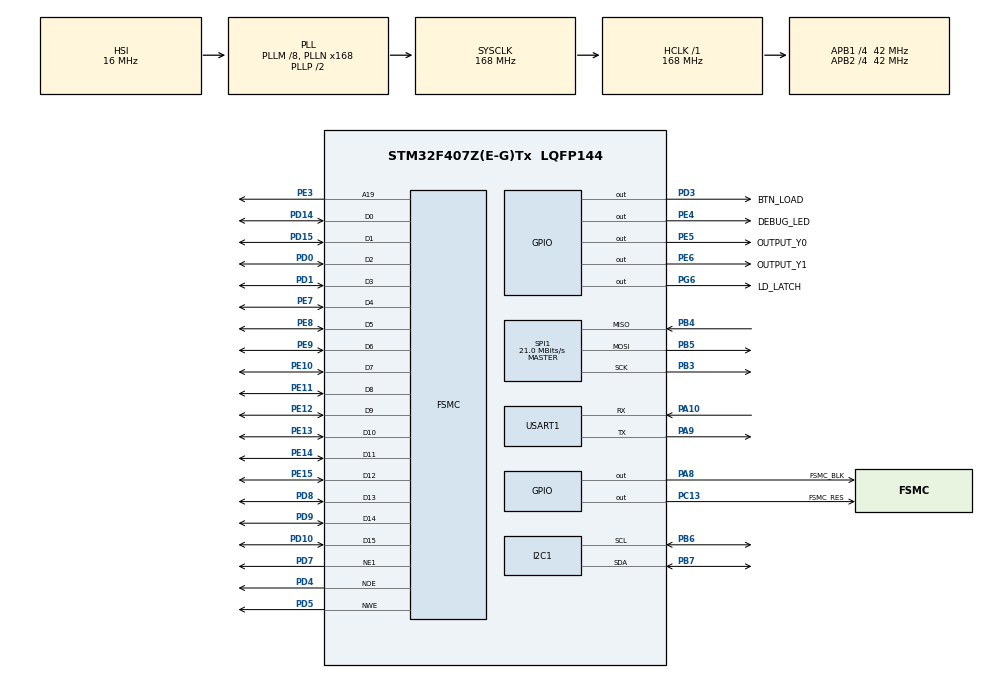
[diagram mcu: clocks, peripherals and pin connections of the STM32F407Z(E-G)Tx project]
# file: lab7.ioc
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FSMC.AddressSetupTime1=0xf
FSMC.BusTurnAroundDuration1=0
FSMC.DataSetupTime1=60
FSMC.ExtendedAddressSetupTime1=8
FSMC.ExtendedBusTurnAroundDuration1=0
FSMC.ExtendedDataSetupTime1=9
FSMC.ExtendedMode1=FSMC_EXTENDED_MODE_ENABLE
Mcu.Family=STM32F4
Mcu.Name=STM32F407Z(E-G)Tx
Mcu.Package=LQFP144
NVIC.PriorityGroup=NVIC_PRIORITYGROUP_4
NVIC.TIM2_IRQn=true\:0\:0\:false\:false\:true\:true\:true\:true
NVIC.TIM4_IRQn=true\:0\:0\:false\:false\:true\:true\:true\:true
NVIC.USART1_IRQn=true\:0\:0\:false\:false\:true\:true\:true\:true
PA10.Mode=Asynchronous
PA10.Signal=USART1_RX
PA13.Mode=Serial_Wire
PA13.Signal=SYS_JTMS-SWDIO
PA14.Mode=Serial_Wire
PA14.Signal=SYS_JTCK-SWCLK
PA8.GPIO_Label=FSMC_BLK
PA8.Signal=GPIO_Output
PA9.Mode=Asynchronous
PA9.Signal=USART1_TX
PB3.Mode=Full_Duplex_Master
PB3.Signal=SPI1_SCK
PB4.Mode=Full_Duplex_Master
PB4.Signal=SPI1_MISO
PB5.Mode=Full_Duplex_Master
PB5.Signal=SPI1_MOSI
PB6.Mode=I2C
PB6.Signal=I2C1_SCL
PB7.Mode=I2C
PB7.Signal=I2C1_SDA
PC13-ANTI_TAMP.GPIO_Label=FSMC_RES
PC13-ANTI_TAMP.Signal=GPIO_Output
PD0.Signal=FSMC_D2_DA2
PD1.Signal=FSMC_D3_DA3
PD10.Signal=FSMC_D15_DA15
PD14.Signal=FSMC_D0_DA0
PD15.Signal=FSMC_D1_DA1
PD3.GPIO_Label=BTN_LOAD
PD3.Signal=GPIO_Output
PD4.Signal=FSMC_NOE
PD5.Signal=FSMC_NWE
PD7.Mode=NorPsramChipSelect1_1
PD7.Signal=FSMC_NE1
PD8.Signal=FSMC_D13_DA13
PD9.Signal=FSMC_D14_DA14
PE10.Signal=FSMC_D7_DA7
PE11.Signal=FSMC_D8_DA8
PE12.Signal=FSMC_D9_DA9
PE13.Signal=FSMC_D10_DA10
PE14.Signal=FSMC_D11_DA11
PE15.Signal=FSMC_D12_DA12
PE3.Signal=FSMC_A19
PE4.GPIO_Label=DEBUG_LED
PE4.Signal=GPIO_Output
PE5.GPIO_Label=OUTPUT_Y0
PE5.Signal=GPIO_Output
PE6.GPIO_Label=OUTPUT_Y1
PE6.Signal=GPIO_Output
PE7.Signal=FSMC_D4_DA4
PE8.Signal=FSMC_D5_DA5
PE9.Signal=FSMC_D6_DA6
PG6.GPIO_Label=LD_LATCH
PG6.Signal=GPIO_Output
PH0-OSC_IN.Mode=HSE-External-Oscillator
PH0-OSC_IN.Signal=RCC_OSC_IN
PH1-OSC_OUT.Mode=HSE-External-Oscillator
PH1-OSC_OUT.Signal=RCC_OSC_OUT
ProjectManager.HeapSize=0x200
ProjectManager.StackSize=0x400
ProjectManager.TargetToolchain=STM32CubeIDE
RCC.48MHZClocksFreq_Value=84000000
RCC.AHBFreq_Value=168000000
RCC.APB1CLKDivider=RCC_HCLK_DIV4
RCC.APB1Freq_Value=42000000
RCC.APB1TimFreq_Value=84000000
RCC.APB2CLKDivider=RCC_HCLK_DIV4
RCC.APB2Freq_Value=42000000
RCC.APB2TimFreq_Value=84000000
RCC.CortexFreq_Value=168000000
RCC.HCLKFreq_Value=168000000
RCC.HSE_VALUE=25000000
RCC.HSI_VALUE=16000000
RCC.LSE_VALUE=32768
RCC.PLLM=8
RCC.PLLN=168
RCC.SYSCLKFreq_VALUE=168000000
RCC.SYSCLKSource=RCC_SYSCLKSOURCE_PLLCLK
RCC.VCOOutputFreq_Value=336000000
SH.FSMC_A19.0=FSMC_A19,A19_1
SH.FSMC_D0_DA0.0=FSMC_D0,16b-d1
SH.FSMC_D10_DA10.0=FSMC_D10,16b-d1
SH.FSMC_D11_DA11.0=FSMC_D11,16b-d1
SH.FSMC_D12_DA12.0=FSMC_D12,16b-d1
SH.FSMC_D13_DA13.0=FSMC_D13,16b-d1
SH.FSMC_D14_DA14.0=FSMC_D14,16b-d1
SH.FSMC_D15_DA15.0=FSMC_D15,16b-d1
SH.FSMC_D1_DA1.0=FSMC_D1,16b-d1
SH.FSMC_D2_DA2.0=FSMC_D2,16b-d1
SH.FSMC_D3_DA3.0=FSMC_D3,16b-d1
SH.FSMC_D4_DA4.0=FSMC_D4,16b-d1
SH.FSMC_D5_DA5.0=FSMC_D5,16b-d1
SH.FSMC_D6_DA6.0=FSMC_D6,16b-d1
SH.FSMC_D7_DA7.0=FSMC_D7,16b-d1
SH.FSMC_D8_DA8.0=FSMC_D8,16b-d1
SH.FSMC_D9_DA9.0=FSMC_D9,16b-d1
SH.FSMC_NOE.0=FSMC_NOE,Lcd1
SH.FSMC_NWE.0=FSMC_NWE,Lcd1
SPI1.CalculateBaudRate=21.0 MBits/s
SPI1.Direction=SPI_DIRECTION_2LINES
SPI1.Mode=SPI_MODE_MASTER
SPI1.VirtualType=VM_MASTER
TIM2.Period=10-1
TIM2.Prescaler=8400-1
TIM4.Period=10-1
TIM4.Prescaler=8400-1
USART1.VirtualMode=VM_ASYNC
VP_TIM2_VS_ClockSourceINT.Mode=Internal
VP_TIM4_VS_ClockSourceINT.Mode=Internal
board=custom

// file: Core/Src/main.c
/* USER CODE BEGIN Header */
/**
  ******************************************************************************
  * @file           : main.c
  * @brief          : Main program body
  ******************************************************************************
  * @attention
  *
  * Copyright (c) 2024 STMicroelectronics.
  * All rights reserved.
  *
  * This software is licensed under terms that can be found in the LICENSE file
  * in the root directory of this software component.
  * If no LICENSE file comes with this software, it is provided AS-IS.
  *
  ******************************************************************************
  */
/* USER CODE END Header */
#include "main.h"
#include "i2c.h"
#include "spi.h"
#include "tim.h"
#include "usart.h"
#include "gpio.h"
#include "fsmc.h"

/* USER CODE BEGIN Includes */
#include <math.h>
#include <string.h>
#include <stdint.h>

#include "sTimer.h"
#include "led7Seg.h"
#include "button.h"
#include "lcd.h"

/* USER CODE END Includes */

void SystemClock_Config(void);
/* USER CODE BEGIN PFP */
uint8_t debugSystem(void);
void initSystem(void);

/* USER CODE END PFP */

int main(void)
{

  /* MCU Configuration--------------------------------------------------------*/

  /* Reset of all peripherals, Initializes the Flash interface and the Systick. */
  HAL_Init();

  /* Configure the system clock */
  SystemClock_Config();

  /* Initialize all configured peripherals */
  MX_GPIO_Init();
  MX_TIM2_Init();
  MX_SPI1_Init();
  MX_FSMC_Init();
  MX_I2C1_Init();
  MX_USART1_UART_Init();
  MX_TIM4_Init();
  /* USER CODE BEGIN 2 */
  initSystem();

  sTimer4Set(1000, 50); // interrupt every 50ms
  sTimer2Set(0, 500); // interrupt every 500ms

  /* USER CODE END 2 */

  /* Infinite loop */
  /* USER CODE BEGIN WHILE */
  while (1)
  {
	  if(sTimer4GetFlag())
	  {
		  (void)debugSystem();
	  }
    /* USER CODE END WHILE */

  }
}

void SystemClock_Config(void)
{
  RCC_OscInitTypeDef RCC_OscInitStruct = {0};
  RCC_ClkInitTypeDef RCC_ClkInitStruct = {0};

  /** Configure the main internal regulator output voltage
  */
  __HAL_RCC_PWR_CLK_ENABLE();
  __HAL_PWR_VOLTAGESCALING_CONFIG(PWR_REGULATOR_VOLTAGE_SCALE1);

  /** Initializes the RCC Oscillators according to the specified parameters
  * in the RCC_OscInitTypeDef structure.
  */
  RCC_OscInitStruct.OscillatorType = RCC_OSCILLATORTYPE_HSI;
  RCC_OscInitStruct.HSIState = RCC_HSI_ON;
  RCC_OscInitStruct.HSICalibrationValue = RCC_HSICALIBRATION_DEFAULT;
  RCC_OscInitStruct.PLL.PLLState = RCC_PLL_ON;
  RCC_OscInitStruct.PLL.PLLSource = RCC_PLLSOURCE_HSI;
  RCC_OscInitStruct.PLL.PLLM = 8;
  RCC_OscInitStruct.PLL.PLLN = 168;
  RCC_OscInitStruct.PLL.PLLP = RCC_PLLP_DIV2;
  RCC_OscInitStruct.PLL.PLLQ = 4;
  if (HAL_RCC_OscConfig(&RCC_OscInitStruct) != HAL_OK)
  {
    Error_Handler();
  }

  /** Initializes the CPU, AHB and APB buses clocks
  */
  RCC_ClkInitStruct.ClockType = RCC_CLOCKTYPE_HCLK|RCC_CLOCKTYPE_SYSCLK
                              |RCC_CLOCKTYPE_PCLK1|RCC_CLOCKTYPE_PCLK2;
  RCC_ClkInitStruct.SYSCLKSource = RCC_SYSCLKSOURCE_PLLCLK;
  RCC_ClkInitStruct.AHBCLKDivider = RCC_SYSCLK_DIV1;
  RCC_ClkInitStruct.APB1CLKDivider = RCC_HCLK_DIV4;
  RCC_ClkInitStruct.APB2CLKDivider = RCC_HCLK_DIV4;

  if (HAL_RCC_ClockConfig(&RCC_ClkInitStruct, FLASH_LATENCY_5) != HAL_OK)
  {
    Error_Handler();
  }
}

/* USER CODE BEGIN 4 */
uint8_t debugSystem()
{
	if(DEBUG_LED_Pin)
	{
		HAL_GPIO_TogglePin(GPIOE, DEBUG_LED_Pin);
		return 1;
	}
	return 0;
}
void initSystem()
{
	initTimer2();
	initTimer4();
	initLed7Seg();
	initButton();
	initLCD();
}

/* USER CODE END 4 */

void Error_Handler(void)
{
  __disable_irq();
  while (1)
  {
  }
}
